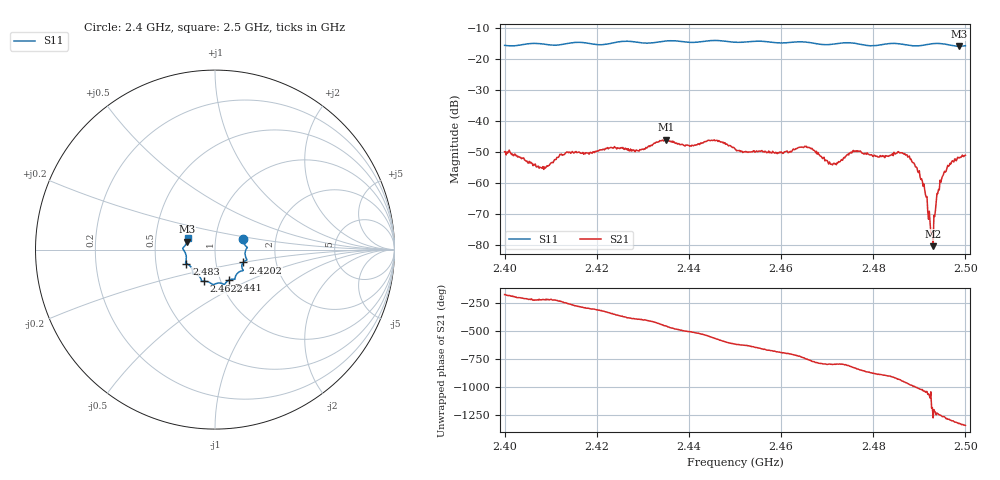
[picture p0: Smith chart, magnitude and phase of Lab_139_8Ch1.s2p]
# Hz S RI R 50
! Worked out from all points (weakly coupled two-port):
!   601 points, 2.4 GHz to 2.5 GHz, reference 50 ohm
!   highest |S21| = -45.96 dB at 2.435 GHz (marker M1); lowest = -80.3 dB at 2.493 GHz (marker M2)
!   lowest |S11| = -15.8 dB at 2.4987 GHz (marker M3), VSWR 1.39, Z = 36.4 + j3.3 ohm
!   |S11| at or under -10 dB: start of sweep to end of sweep
!   S12 and S22 are empty: the file has one direction only
!   S11 on the Smith chart (normalised r, x): 2.4 GHz: 1.36, +0.17; 2.4202 GHz: 1.35, -0.20; 2.441 GHz: 1.10, -0.39; 2.4622 GHz: 0.83, -0.30; 2.483 GHz: 0.72, -0.12; 2.5 GHz: 0.73, +0.09
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2.4e9  0.1563 0.0603  -0.00322 -8.07e-05  0 0  0 0
2.408e9  0.1773 0.00798  -0.00124 0.00125  0 0  0 0
2.416667e9  0.1775 -0.0584  0.00111 0.00283  0 0  0 0
2.420167e9  0.1563 -0.0718  0.00239 0.00232  0 0  0 0
2.433333e9  0.1131 -0.1523  0.0012 -0.00449  0 0  0 0
2.435e9  0.1116 -0.1627  -0.000853 -0.00496  0 0  0 0
2.441e9  0.0769 -0.1705  -0.00364 -0.00169  0 0  0 0
2.45e9  0.0268 -0.1862  -0.000636 0.00352  0 0  0 0
2.462167e9  -0.0631 -0.1765  0.00313 0.000547  0 0  0 0
2.466667e9  -0.0766 -0.1668  0.0022 -0.00293  0 0  0 0
2.471167e9  -0.1074 -0.1375  0.000246 -0.00196  0 0  0 0
2.476e9  -0.1251 -0.1304  -0.00133 -0.00304  0 0  0 0
2.483e9  -0.1592 -0.0781  -0.00272 0.000109  0 0  0 0
2.483333e9  -0.1609 -0.0774  -0.00271 0.000214  0 0  0 0
2.489e9  -0.1604 -0.035  0.000296 0.00198  0 0  0 0
2.491167e9  -0.1697 -0.00923  0.000594 0.000512  0 0  0 0
2.4925e9  -0.1769 0.0006  0.000133 9.12e-05  0 0  0 0
2.493e9  -0.1787 0.00306  -9.15e-05 3.08e-05  0 0  0 0
2.494e9  -0.1798 0.00694  -0.000639 -0.000236  0 0  0 0
2.495e9  -0.1774 0.0106  -0.00128 0.000162  0 0  0 0
2.498667e9  -0.1561 0.0442  -0.00105 0.00233  0 0  0 0
2.5e9  -0.1528 0.0628  -0.000221 0.00282  0 0  0 0
